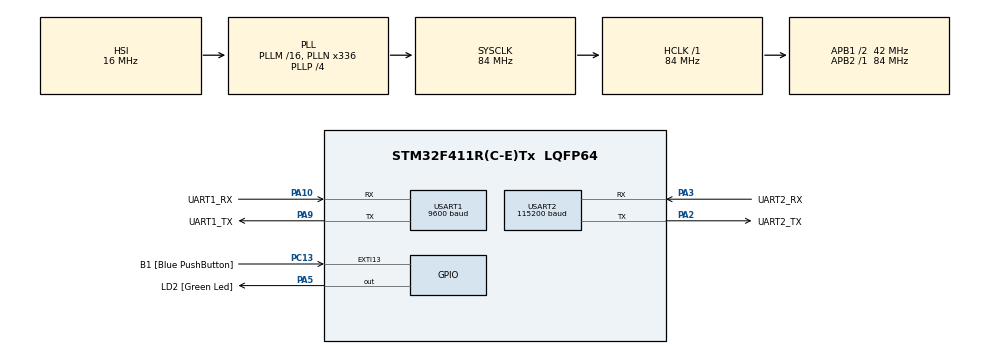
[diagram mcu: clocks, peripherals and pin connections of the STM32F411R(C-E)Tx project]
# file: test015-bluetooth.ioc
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Dma.Request0=USART1_RX
Dma.Request1=USART2_RX
Dma.USART1_RX.0.Direction=DMA_PERIPH_TO_MEMORY
Dma.USART1_RX.0.FIFOMode=DMA_FIFOMODE_DISABLE
Dma.USART1_RX.0.Instance=DMA2_Stream2
Dma.USART1_RX.0.MemDataAlignment=DMA_MDATAALIGN_BYTE
Dma.USART1_RX.0.MemInc=DMA_MINC_ENABLE
Dma.USART1_RX.0.Mode=DMA_CIRCULAR
Dma.USART1_RX.0.PeriphDataAlignment=DMA_PDATAALIGN_BYTE
Dma.USART1_RX.0.PeriphInc=DMA_PINC_DISABLE
Dma.USART1_RX.0.Priority=DMA_PRIORITY_LOW
Dma.USART2_RX.1.Direction=DMA_PERIPH_TO_MEMORY
Dma.USART2_RX.1.FIFOMode=DMA_FIFOMODE_DISABLE
Dma.USART2_RX.1.Instance=DMA1_Stream5
Dma.USART2_RX.1.MemDataAlignment=DMA_MDATAALIGN_BYTE
Dma.USART2_RX.1.MemInc=DMA_MINC_ENABLE
Dma.USART2_RX.1.Mode=DMA_CIRCULAR
Dma.USART2_RX.1.PeriphDataAlignment=DMA_PDATAALIGN_BYTE
Dma.USART2_RX.1.PeriphInc=DMA_PINC_DISABLE
Dma.USART2_RX.1.Priority=DMA_PRIORITY_LOW
Mcu.Family=STM32F4
Mcu.Name=STM32F411R(C-E)Tx
Mcu.Package=LQFP64
NVIC.DMA1_Stream5_IRQn=true\:0\:0\:false\:false\:true\:false\:true\:true
NVIC.DMA2_Stream2_IRQn=true\:0\:0\:false\:false\:true\:false\:true\:true
NVIC.PriorityGroup=NVIC_PRIORITYGROUP_0
NVIC.USART1_IRQn=true\:0\:0\:false\:false\:true\:true\:true\:true
NVIC.USART2_IRQn=true\:0\:0\:false\:false\:true\:true\:true\:true
PA10.GPIO_Label=UART1_RX
PA10.Mode=Asynchronous
PA10.Signal=USART1_RX
PA13.GPIO_Label=TMS
PA13.Mode=Serial_Wire
PA13.Signal=SYS_JTMS-SWDIO
PA14.GPIO_Label=TCK
PA14.Mode=Serial_Wire
PA14.Signal=SYS_JTCK-SWCLK
PA2.GPIO_Label=UART2_TX
PA2.Mode=Asynchronous
PA2.Signal=USART2_TX
PA3.GPIO_Label=UART2_RX
PA3.Mode=Asynchronous
PA3.Signal=USART2_RX
PA5.GPIO_Label=LD2 [Green Led]
PA5.Signal=GPIO_Output
PA9.GPIO_Label=UART1_TX
PA9.Mode=Asynchronous
PA9.Signal=USART1_TX
PB3.GPIO_Label=SWO
PB3.Signal=SYS_JTDO-SWO
PC13-ANTI_TAMP.GPIO_Label=B1 [Blue PushButton]
PC13-ANTI_TAMP.GPIO_ModeDefaultEXTI=GPIO_MODE_IT_FALLING
PC13-ANTI_TAMP.Signal=GPXTI13
PC14-OSC32_IN.Mode=LSE-External-Oscillator
PC14-OSC32_IN.Signal=RCC_OSC32_IN
PC15-OSC32_OUT.Mode=LSE-External-Oscillator
PC15-OSC32_OUT.Signal=RCC_OSC32_OUT
PH0\ -\ OSC_IN.Mode=HSE-External-Clock-Source
PH0\ -\ OSC_IN.Signal=RCC_OSC_IN
PH1\ -\ OSC_OUT.Mode=HSE-External-Clock-Source
PH1\ -\ OSC_OUT.Signal=RCC_OSC_OUT
ProjectManager.HeapSize=0x200
ProjectManager.StackSize=0x400
ProjectManager.TargetToolchain=STM32CubeIDE
RCC.48MHZClocksFreq_Value=84000000
RCC.AHBFreq_Value=84000000
RCC.APB1CLKDivider=RCC_HCLK_DIV2
RCC.APB1Freq_Value=42000000
RCC.APB1TimFreq_Value=84000000
RCC.APB2Freq_Value=84000000
RCC.APB2TimFreq_Value=84000000
RCC.CortexFreq_Value=84000000
RCC.FLatency-AdvancedSettings=FLASH_LATENCY_2
RCC.HCLKFreq_Value=84000000
RCC.HSE_VALUE=8000000
RCC.HSI_VALUE=16000000
RCC.PLLN=336
RCC.PLLP=RCC_PLLP_DIV4
RCC.SYSCLKFreq_VALUE=84000000
RCC.SYSCLKSource=RCC_SYSCLKSOURCE_PLLCLK
RCC.VCOOutputFreq_Value=336000000
USART1.BaudRate=9600
USART1.VirtualMode=VM_ASYNC
USART2.BaudRate=115200
USART2.VirtualMode=VM_ASYNC
board=NUCLEO-F411RE

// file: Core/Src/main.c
/* USER CODE BEGIN Header */
/**
  ******************************************************************************
  * @file           : main.c
  * @brief          : Main program body
  ******************************************************************************
  * @attention
  *
  * Copyright (c) 2025 STMicroelectronics.
  * All rights reserved.
  *
  * This software is licensed under terms that can be found in the LICENSE file
  * in the root directory of this software component.
  * If no LICENSE file comes with this software, it is provided AS-IS.
  *
  ******************************************************************************
  */
/* USER CODE END Header */
#include "main.h"

/* USER CODE BEGIN Includes */
#include<string.h>
#include<stdio.h>

/* USER CODE END Includes */

UART_HandleTypeDef huart1;
UART_HandleTypeDef huart2;
DMA_HandleTypeDef hdma_usart1_rx;
DMA_HandleTypeDef hdma_usart2_rx;

void SystemClock_Config(void);
static void MX_GPIO_Init(void);
static void MX_DMA_Init(void);
static void MX_USART2_UART_Init(void);
static void MX_USART1_UART_Init(void);

/* USER CODE BEGIN 0 */

#define BUF_SIZE 100
char buf1[BUF_SIZE], buf2[BUF_SIZE]; // DMA Buffer
char dum1, dum2;
int head1 = 0, head2 = 0, tail1 = 0, tail2 = 0;

void HAL_UART_RxCpltCallback(UART_HandleTypeDef *huart)
{
   if(huart == &huart1)
   {
      buf1[tail1++] = dum1;
      HAL_UART_Transmit(&huart2, &dum1/*== buf1+t1-1*/, 1, 10);      // putty print
      if(dum1 == '\r')
      {
    	  CheckCMD(buf1);
    	  tail1 = 0;
      }
      HAL_UART_Receive_IT(&huart1, &dum1, 1);         // interrupt chain
   }

   else if(huart == &huart2)
   {
      buf2[tail2++] = dum2;
      HAL_UART_Transmit(&huart2, &dum2, 1, 10); // terminal echo
      if(dum2 == '\r')  // CR : 0x0d
      {
         HAL_UART_Transmit(&huart2, "\n", 1, 10); // terminal echo

         buf2[tail2++] = '\n'; // == HAL_UART_Transmit(&huart1, "\n", 1, 10);
         HAL_UART_Transmit(&huart1, buf2, tail2, 10);   // AT Command
//         HAL_UART_Transmit(&huart1, "\n", 1, 10);
         tail2 = 0;
      }
      HAL_UART_Receive_IT(&huart2, &dum2, 1);
   }
}

void ToUpper(char *s)
{
	while(*s)
	{
		if(*s >= 'a' && *s <= 'z')	*s &= 0xDF; s++;
	}
}

void ToLower(char *s)
{
	while(*s)
	{
		if(*s >= 'A' && *s <= 'Z')	*s &= 0x20; s++;
	}
}

void TrimEx(char *dest, char *s)
{
	int h = 0, t = strlen(s);
	while(1)	// head
	{
		if(*(s+h)==' ' || *(s+h)=='\t' || *(s+h)=='\r' || *(s+h)=='\n') h++;
		else break;
	}
	while(1)	// tail
	{
		if(*(s+t)==' ' || *(s+t)=='\t' || *(s+t)=='\r' || *(s+t)=='\n') t--;
		else break;
	}

	strncpy(dest, s+h, t-h+1);
}

char * Trim(char *s)
{
	int h = 0, t = strlen(s);
	while(*(s+h)==' ' || *(s+h)=='\t' || *(s+h)=='\r' || *(s+h)=='\n') h++;	// head
	while(*(s+t)==' ' || *(s+t)=='\t' || *(s+t)=='\r' || *(s+t)=='\n') t--;	// tail

	char *dest = (char *)malloc(t-h+1);	// 메모리 동적할당 : malloc(memory size)
	strncpy(dest, s+h, t-h+1);
	return dest;
}

void CheckCMD(char *bb)  // ex) str "    LED  1   " 에서 공백 삭제
{
	char *str = Trim(bb);
	ToUpper(str);
	if(strncmp(str,"LED",3) == 0)
	{
		char *arg = Trim(str+3);
		if(arg[0] == '1')
		{
			HAL_GPIO_WritePin(LD2_GPIO_Port, LD2_Pin, 1);
		}
		else if(arg[0] == '0')
		{
			HAL_GPIO_WritePin(LD2_GPIO_Port, LD2_Pin, 0);
		}
	}
}

/* USER CODE END 0 */

int main(void)
{

  /* MCU Configuration--------------------------------------------------------*/

  /* Reset of all peripherals, Initializes the Flash interface and the Systick. */
  HAL_Init();

  /* Configure the system clock */
  SystemClock_Config();

  /* Initialize all configured peripherals */
  MX_GPIO_Init();
  MX_DMA_Init();
  MX_USART2_UART_Init();
  MX_USART1_UART_Init();
  /* USER CODE BEGIN 2 */

  ProgramStart("Bluetooth Test - Start");
  UART_Start_Receive_IT(&huart1, &dum1, 1);
  UART_Start_Receive_IT(&huart2, &dum2, 1);

  /* USER CODE END 2 */

  /* Infinite loop */
  while (1)
  {

  }
}

void SystemClock_Config(void)
{
  RCC_OscInitTypeDef RCC_OscInitStruct = {0};
  RCC_ClkInitTypeDef RCC_ClkInitStruct = {0};

  /** Configure the main internal regulator output voltage
  */
  __HAL_RCC_PWR_CLK_ENABLE();
  __HAL_PWR_VOLTAGESCALING_CONFIG(PWR_REGULATOR_VOLTAGE_SCALE1);

  /** Initializes the RCC Oscillators according to the specified parameters
  * in the RCC_OscInitTypeDef structure.
  */
  RCC_OscInitStruct.OscillatorType = RCC_OSCILLATORTYPE_HSI;
  RCC_OscInitStruct.HSIState = RCC_HSI_ON;
  RCC_OscInitStruct.HSICalibrationValue = RCC_HSICALIBRATION_DEFAULT;
  RCC_OscInitStruct.PLL.PLLState = RCC_PLL_ON;
  RCC_OscInitStruct.PLL.PLLSource = RCC_PLLSOURCE_HSI;
  RCC_OscInitStruct.PLL.PLLM = 16;
  RCC_OscInitStruct.PLL.PLLN = 336;
  RCC_OscInitStruct.PLL.PLLP = RCC_PLLP_DIV4;
  RCC_OscInitStruct.PLL.PLLQ = 4;
  if (HAL_RCC_OscConfig(&RCC_OscInitStruct) != HAL_OK)
  {
    Error_Handler();
  }

  /** Initializes the CPU, AHB and APB buses clocks
  */
  RCC_ClkInitStruct.ClockType = RCC_CLOCKTYPE_HCLK|RCC_CLOCKTYPE_SYSCLK
                              |RCC_CLOCKTYPE_PCLK1|RCC_CLOCKTYPE_PCLK2;
  RCC_ClkInitStruct.SYSCLKSource = RCC_SYSCLKSOURCE_PLLCLK;
  RCC_ClkInitStruct.AHBCLKDivider = RCC_SYSCLK_DIV1;
  RCC_ClkInitStruct.APB1CLKDivider = RCC_HCLK_DIV2;
  RCC_ClkInitStruct.APB2CLKDivider = RCC_HCLK_DIV1;

  if (HAL_RCC_ClockConfig(&RCC_ClkInitStruct, FLASH_LATENCY_2) != HAL_OK)
  {
    Error_Handler();
  }
}

static void MX_USART1_UART_Init(void)
{

  huart1.Instance = USART1;
  huart1.Init.BaudRate = 9600;
  huart1.Init.WordLength = UART_WORDLENGTH_8B;
  huart1.Init.StopBits = UART_STOPBITS_1;
  huart1.Init.Parity = UART_PARITY_NONE;
  huart1.Init.Mode = UART_MODE_TX_RX;
  huart1.Init.HwFlowCtl = UART_HWCONTROL_NONE;
  huart1.Init.OverSampling = UART_OVERSAMPLING_16;
  if (HAL_UART_Init(&huart1) != HAL_OK)
  {
    Error_Handler();
  }

}

static void MX_USART2_UART_Init(void)
{

  huart2.Instance = USART2;
  huart2.Init.BaudRate = 115200;
  huart2.Init.WordLength = UART_WORDLENGTH_8B;
  huart2.Init.StopBits = UART_STOPBITS_1;
  huart2.Init.Parity = UART_PARITY_NONE;
  huart2.Init.Mode = UART_MODE_TX_RX;
  huart2.Init.HwFlowCtl = UART_HWCONTROL_NONE;
  huart2.Init.OverSampling = UART_OVERSAMPLING_16;
  if (HAL_UART_Init(&huart2) != HAL_OK)
  {
    Error_Handler();
  }

}

static void MX_DMA_Init(void)
{

  /* DMA controller clock enable */
  __HAL_RCC_DMA2_CLK_ENABLE();
  __HAL_RCC_DMA1_CLK_ENABLE();

  /* DMA interrupt init */
  /* DMA1_Stream5_IRQn interrupt configuration */
  HAL_NVIC_SetPriority(DMA1_Stream5_IRQn, 0, 0);
  HAL_NVIC_EnableIRQ(DMA1_Stream5_IRQn);
  /* DMA2_Stream2_IRQn interrupt configuration */
  HAL_NVIC_SetPriority(DMA2_Stream2_IRQn, 0, 0);
  HAL_NVIC_EnableIRQ(DMA2_Stream2_IRQn);

}

static void MX_GPIO_Init(void)
{
  GPIO_InitTypeDef GPIO_InitStruct = {0};

  /* GPIO Ports Clock Enable */
  __HAL_RCC_GPIOC_CLK_ENABLE();
  __HAL_RCC_GPIOH_CLK_ENABLE();
  __HAL_RCC_GPIOA_CLK_ENABLE();
  __HAL_RCC_GPIOB_CLK_ENABLE();

  /*Configure GPIO pin Output Level */
  HAL_GPIO_WritePin(LD2_GPIO_Port, LD2_Pin, GPIO_PIN_RESET);

  /*Configure GPIO pin : B1_Pin */
  GPIO_InitStruct.Pin = B1_Pin;
  GPIO_InitStruct.Mode = GPIO_MODE_IT_FALLING;
  GPIO_InitStruct.Pull = GPIO_NOPULL;
  HAL_GPIO_Init(B1_GPIO_Port, &GPIO_InitStruct);

  /*Configure GPIO pin : LD2_Pin */
  GPIO_InitStruct.Pin = LD2_Pin;
  GPIO_InitStruct.Mode = GPIO_MODE_OUTPUT_PP;
  GPIO_InitStruct.Pull = GPIO_NOPULL;
  GPIO_InitStruct.Speed = GPIO_SPEED_FREQ_LOW;
  HAL_GPIO_Init(LD2_GPIO_Port, &GPIO_InitStruct);

}

void Error_Handler(void)
{
  __disable_irq();
  while (1)
  {
  }
}
